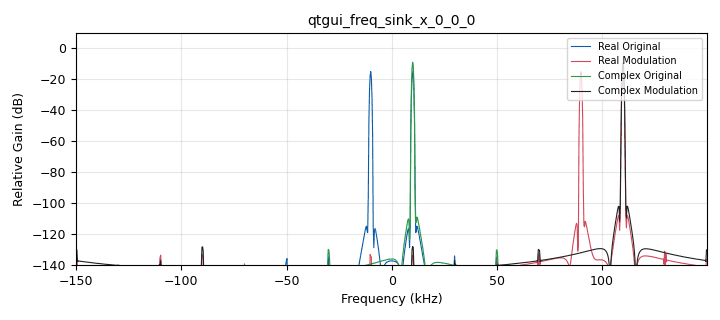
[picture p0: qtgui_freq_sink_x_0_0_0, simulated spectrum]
<?xml version='1.0' encoding='utf-8'?>
<?grc format='1' created='3.7.10'?>
<flow_graph>
<block>
<key>options</key>
<param><key>id</key><value>top_block</value></param>
<param><key>generate_options</key><value>qt_gui</value></param>
</block>
<block>
<key>variable</key>
<param><key>id</key><value>samp_rate</value></param>
<param><key>value</key><value>300e3</value></param>
</block>
<block>
<key>analog_const_source_x</key>
<param><key>id</key><value>analog_const_source_x_0</value></param>
<param><key>const</key><value>0</value></param>
<param><key>type</key><value>float</value></param>
</block>
<block>
<key>analog_sig_source_x</key>
<param><key>id</key><value>analog_sig_source_x_0</value></param>
<param><key>amp</key><value>1</value></param>
<param><key>freq</key><value>10e3</value></param>
<param><key>offset</key><value>0</value></param>
<param><key>type</key><value>complex</value></param>
<param><key>samp_rate</key><value>samp_rate</value></param>
<param><key>waveform</key><value>analog.GR_COS_WAVE</value></param>
</block>
<block>
<key>analog_sig_source_x</key>
<param><key>id</key><value>analog_sig_source_x_0_0</value></param>
<param><key>amp</key><value>1</value></param>
<param><key>freq</key><value>100e3</value></param>
<param><key>offset</key><value>0</value></param>
<param><key>type</key><value>complex</value></param>
<param><key>samp_rate</key><value>samp_rate</value></param>
<param><key>waveform</key><value>analog.GR_COS_WAVE</value></param>
</block>
<block>
<key>analog_sig_source_x</key>
<param><key>id</key><value>analog_sig_source_x_0_0_0</value></param>
<param><key>amp</key><value>1</value></param>
<param><key>freq</key><value>100e3</value></param>
<param><key>offset</key><value>0</value></param>
<param><key>type</key><value>complex</value></param>
<param><key>samp_rate</key><value>samp_rate</value></param>
<param><key>waveform</key><value>analog.GR_COS_WAVE</value></param>
</block>
<block>
<key>analog_sig_source_x</key>
<param><key>id</key><value>analog_sig_source_x_0_1</value></param>
<param><key>amp</key><value>1</value></param>
<param><key>freq</key><value>10e3</value></param>
<param><key>offset</key><value>0</value></param>
<param><key>type</key><value>float</value></param>
<param><key>samp_rate</key><value>samp_rate</value></param>
<param><key>waveform</key><value>analog.GR_COS_WAVE</value></param>
</block>
<block>
<key>blocks_float_to_complex</key>
<param><key>id</key><value>blocks_float_to_complex_0</value></param>
</block>
<block>
<key>blocks_multiply_xx</key>
<param><key>id</key><value>blocks_multiply_xx_0</value></param>
<param><key>type</key><value>complex</value></param>
</block>
<block>
<key>blocks_multiply_xx</key>
<param><key>id</key><value>blocks_multiply_xx_0_0</value></param>
<param><key>type</key><value>complex</value></param>
</block>
<block>
<key>blocks_throttle</key>
<param><key>id</key><value>blocks_throttle_0</value></param>
<param><key>samples_per_second</key><value>samp_rate</value></param>
<param><key>type</key><value>complex</value></param>
</block>
<block>
<key>qtgui_freq_sink_x</key>
<param><key>id</key><value>qtgui_freq_sink_x_0_0_0</value></param>
<param><key>bw</key><value>samp_rate</value></param>
<param><key>fc</key><value>0</value></param>
<param><key>fftsize</key><value>1024</value></param>
<param><key>label1</key><value>Real Original</value></param>
<param><key>label2</key><value>Real Modulation</value></param>
<param><key>label3</key><value>Complex Original</value></param>
<param><key>label4</key><value>Complex Modulation</value></param>
<param><key>nconnections</key><value>4</value></param>
<param><key>showports</key><value>True</value></param>
<param><key>type</key><value>complex</value></param>
<param><key>wintype</key><value>firdes.WIN_BLACKMAN_hARRIS</value></param>
</block>
<connection><source_block_id>analog_const_source_x_0</source_block_id><sink_block_id>blocks_float_to_complex_0</sink_block_id><source_key>0</source_key><sink_key>1</sink_key></connection>
<connection><source_block_id>analog_sig_source_x_0</source_block_id><sink_block_id>blocks_throttle_0</sink_block_id><source_key>0</source_key><sink_key>0</sink_key></connection>
<connection><source_block_id>analog_sig_source_x_0_0</source_block_id><sink_block_id>blocks_multiply_xx_0</sink_block_id><source_key>0</source_key><sink_key>1</sink_key></connection>
<connection><source_block_id>analog_sig_source_x_0_0_0</source_block_id><sink_block_id>blocks_multiply_xx_0_0</sink_block_id><source_key>0</source_key><sink_key>1</sink_key></connection>
<connection><source_block_id>analog_sig_source_x_0_1</source_block_id><sink_block_id>blocks_float_to_complex_0</sink_block_id><source_key>0</source_key><sink_key>0</sink_key></connection>
<connection><source_block_id>blocks_float_to_complex_0</source_block_id><sink_block_id>blocks_multiply_xx_0_0</sink_block_id><source_key>0</source_key><sink_key>0</sink_key></connection>
<connection><source_block_id>blocks_float_to_complex_0</source_block_id><sink_block_id>qtgui_freq_sink_x_0_0_0</sink_block_id><source_key>0</source_key><sink_key>0</sink_key></connection>
<connection><source_block_id>blocks_multiply_xx_0</source_block_id><sink_block_id>qtgui_freq_sink_x_0_0_0</sink_block_id><source_key>0</source_key><sink_key>3</sink_key></connection>
<connection><source_block_id>blocks_multiply_xx_0_0</source_block_id><sink_block_id>qtgui_freq_sink_x_0_0_0</sink_block_id><source_key>0</source_key><sink_key>1</sink_key></connection>
<connection><source_block_id>blocks_throttle_0</source_block_id><sink_block_id>blocks_multiply_xx_0</sink_block_id><source_key>0</source_key><sink_key>0</sink_key></connection>
<connection><source_block_id>blocks_throttle_0</source_block_id><sink_block_id>qtgui_freq_sink_x_0_0_0</sink_block_id><source_key>0</source_key><sink_key>2</sink_key></connection>
</flow_graph>
